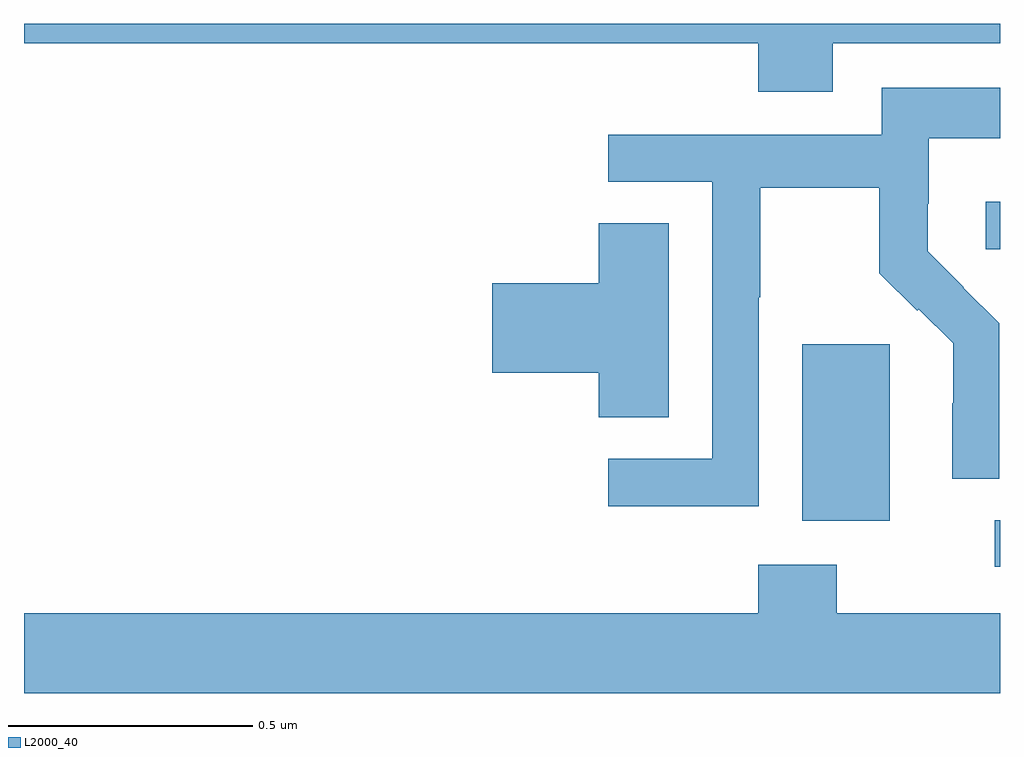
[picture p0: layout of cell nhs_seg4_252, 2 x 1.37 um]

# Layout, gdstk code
import gdstk
lib = gdstk.Library(unit=1e-6, precision=1e-09)
def R(c, l, rs):  # rectangles x0, y0, x1, y1
    for r in rs: c.add(gdstk.rectangle(r[:2], r[2:], *l))
def P(c, l, *ps):  # polygons
    for p in ps: c.add(gdstk.Polygon(p, *l))
L2000_40 = (2000, 40)

nhs_seg4_252 = lib.new_cell('nhs_seg4_252')
R(nhs_seg4_252, L2000_40, [(115.989,755.787,116,755.883), (115.595,755.882,115.774,756.243), (115.971,756.438,116,756.535)])
P(nhs_seg4_252, L2000_40, [(115.657,756.86),(116,756.86),(116,756.9),(114,756.9),(114,756.86),(115.505,756.86),(115.505,756.761),(115.657,756.761)],
  [(115.506,756.34),(115.509,756.34),(115.509,756.564),(115.753,756.564),(115.753,756.389),(115.83,756.312),(115.833,756.315),(115.904,756.245),(115.904,756.122),(115.902,756.122),(115.902,755.968),(115.998,755.968),(115.998,756.286),(115.925,756.359),(115.926,756.36),(115.852,756.434),(115.852,756.531),(115.854,756.531),(115.854,756.665),(116,756.665),(116,756.769),(115.758,756.769),(115.758,756.672),(115.197,756.672),(115.197,756.576),(115.41,756.576),(115.41,756.009),(115.197,756.009),(115.197,755.911),(115.506,755.911)],
  [(115.321,756.491),(115.178,756.491),(115.178,756.368),(114.96,756.368),(114.96,756.185),(115.178,756.185),(115.178,756.094),(115.321,756.094)],
  [(116,755.692),(115.665,755.692),(115.665,755.791),(115.505,755.791),(115.505,755.692),(114,755.692),(114,755.528),(116,755.528)])

lib.write_gds('nhs_seg4_252.gds')
